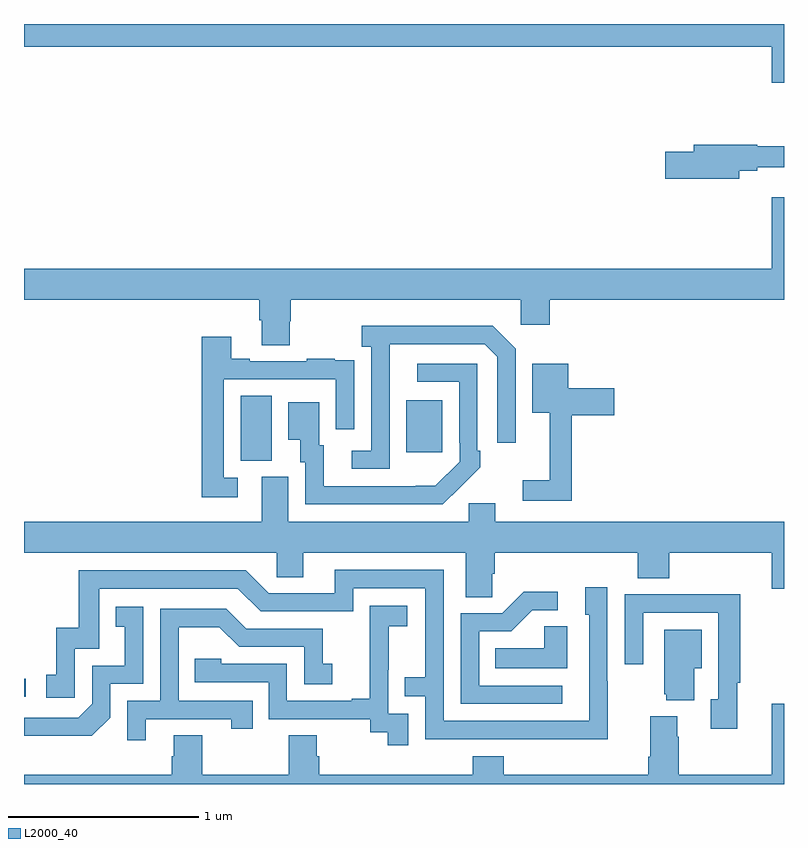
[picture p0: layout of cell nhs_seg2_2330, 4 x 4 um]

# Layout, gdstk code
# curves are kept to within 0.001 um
import gdstk
lib = gdstk.Library(unit=1e-6, precision=1e-09)
def R(c, l, rs):  # rectangles x0, y0, x1, y1
    for r in rs: c.add(gdstk.rectangle(r[:2], r[2:], *l))
def P(c, l, *ps):  # polygons
    for p in ps: c.add(gdstk.Polygon(p, *l))
L2000_40 = (2000, 40)

nhs_seg2_2330 = lib.new_cell('nhs_seg2_2330')
R(nhs_seg2_2330, L2000_40, [(233,600.258,233.008,600.354), (234.14,601.501,234.304,601.844), (235.013,601.545,235.201,601.819)])
P(nhs_seg2_2330, L2000_40, [(237,603.8),(233,603.8),(233,603.68),(236.936,603.68),(236.936,603.492),(237,603.492)],
  [(236.764,603.028),(236.86,603.028),(236.86,603.047),(237,603.047),(237,603.157),(236.86,603.157),(236.86,603.164),(236.525,603.164),(236.525,603.128),(236.376,603.128),(236.376,602.986),(236.764,602.986)],
  [(234.399,602.235),(234.404,602.235),(234.404,602.348),(235.614,602.348),(235.614,602.217),(235.766,602.217),(235.766,602.348),(237,602.348),(237,602.887),(236.936,602.887),(236.936,602.512),(233,602.512),(233,602.348),(234.239,602.348),(234.239,602.242),(234.251,602.242),(234.251,602.11),(234.399,602.11)],
  [(234.924,601.915),(234.925,602.115),(235.425,602.115),(235.491,602.049),(235.491,601.596),(235.587,601.596),(235.587,602.091),(235.466,602.212),(234.777,602.212),(234.777,602.102),(234.828,602.102),(234.828,601.554),(234.726,601.554),(234.726,601.458),(234.924,601.458)],
  [(234.124,601.413),(234.051,601.413),(234.051,601.929),(234.642,601.929),(234.642,601.668),(234.738,601.668),(234.738,601.922),(234.737,601.922),(234.737,602.031),(234.635,602.031),(234.635,602.038),(234.487,602.038),(234.487,602.025),(234.187,602.025),(234.187,602.038),(234.091,602.038),(234.091,602.155),(233.935,602.155),(233.935,601.308),(234.124,601.308)],
  [(235.295,601.363),(235.296,601.362),(235.401,601.467),(235.401,601.555),(235.386,601.555),(235.386,602.013),(235.071,602.013),(235.071,601.917),(235.29,601.917),(235.29,601.597),(235.293,601.597),(235.293,601.497),(235.165,601.369),(234.577,601.368),(234.577,601.584),(234.553,601.584),(234.553,601.81),(234.392,601.81),(234.392,601.613),(234.455,601.613),(234.455,601.494),(234.48,601.494),(234.48,601.272),(235.204,601.272)],
  [(235.883,601.742),(236.107,601.742),(236.107,601.884),(235.864,601.884),(235.864,602.011),(235.676,602.011),(235.676,601.754),(235.766,601.754),(235.766,601.399),(235.626,601.399),(235.626,601.29),(235.883,601.29)],
  [(234.33,600.889),(234.469,600.889),(234.469,601.016),(235.325,601.016),(235.325,600.784),(235.464,600.784),(235.464,600.907),(235.478,600.907),(235.478,601.016),(236.231,601.016),(236.231,600.883),(236.396,600.883),(236.396,601.016),(236.936,601.016),(236.936,600.828),(237,600.828),(237,601.18),(235.48,601.18),(235.48,601.278),(235.341,601.278),(235.341,601.18),(234.391,601.18),(234.391,601.416),(234.251,601.416),(234.251,601.18),(233,601.18),(233,601.016),(234.33,601.016)],
  [(236.073,600.341),(236.07,600.341),(236.07,600.835),(235.955,600.835),(235.955,600.69),(235.974,600.69),(235.974,600.132),(235.209,600.132),(235.209,600.927),(234.635,600.927),(234.635,600.804),(234.288,600.804),(234.168,600.924),(233.289,600.924),(233.289,600.622),(233.171,600.622),(233.171,600.375),(233.118,600.375),(233.118,600.255),(233.268,600.255),(233.268,600.513),(233.397,600.513),(233.397,600.828),(234.126,600.828),(234.246,600.708),(234.732,600.708),(234.732,600.831),(235.113,600.831),(235.113,600.362),(235.003,600.362),(235.003,600.261),(235.113,600.261),(235.113,600.036),(236.073,600.035)],
  [(235.834,600.318),(235.395,600.318),(235.395,600.603),(235.564,600.603),(235.675,600.714),(235.81,600.714),(235.81,600.812),(235.631,600.812),(235.518,600.699),(235.299,600.699),(235.299,600.222),(235.834,600.222)],
  [(236.753,600.334),(236.771,600.334),(236.771,600.8),(236.479,600.8),(236.479,600.798),(236.163,600.798),(236.163,600.429),(236.259,600.429),(236.259,600.702),(236.655,600.702),(236.655,600.246),(236.615,600.246),(236.615,600.09),(236.753,600.09)],
  [(235.023,600.171),(234.918,600.171),(234.918,600.401),(234.92,600.401),(234.92,600.629),(235.018,600.629),(235.018,600.739),(234.82,600.739),(234.82,600.533),(234.821,600.533),(234.821,600.25),(234.725,600.25),(234.725,600.237),(234.384,600.237),(234.384,600.432),(234.039,600.432),(234.039,600.459),(233.899,600.459),(233.899,600.336),(234.288,600.336),(234.288,600.141),(234.822,600.141),(234.822,600.073),(234.915,600.073),(234.915,600.003),(235.023,600.003)],
  [(233.454,600.15),(233.454,600.327),(233.628,600.327),(233.628,600.733),(233.482,600.733),(233.482,600.627),(233.531,600.627),(233.531,600.423),(233.358,600.423),(233.358,600.222),(233.286,600.15),(233,600.15),(233,600.053),(233.356,600.053)],
  [(233.641,600.141),(234.092,600.141),(234.092,600.09),(234.203,600.09),(234.203,600.237),(233.814,600.237),(233.814,600.626),(234.028,600.626),(234.132,600.522),(234.474,600.522),(234.474,600.324),(234.622,600.324),(234.622,600.433),(234.573,600.433),(234.573,600.618),(234.169,600.618),(234.064,600.723),(233.718,600.723),(233.718,600.237),(233.544,600.237),(233.544,600.03),(233.641,600.03)],
  [(235.858,600.629),(235.737,600.629),(235.737,600.514),(235.48,600.514),(235.48,600.41),(235.858,600.41)],
  [(236.527,600.41),(236.566,600.41),(236.566,600.613),(236.369,600.613),(236.369,600.273),(236.381,600.273),(236.381,600.242),(236.527,600.242)],
  [(237,600.223),(236.936,600.223),(236.936,599.848),(236.445,599.848),(236.445,600.05),(236.437,600.05),(236.437,600.157),(236.297,600.157),(236.297,599.944),(236.285,599.944),(236.285,599.848),(235.526,599.848),(235.526,599.947),(235.361,599.947),(235.361,599.848),(234.554,599.848),(234.554,599.946),(234.541,599.946),(234.541,600.056),(234.394,600.056),(234.394,599.848),(233.937,599.848),(233.937,600.056),(233.789,600.056),(233.789,599.946),(233.777,599.946),(233.777,599.848),(233,599.848),(233,599.8),(237,599.8)])

lib.write_gds('nhs_seg2_2330.gds')
